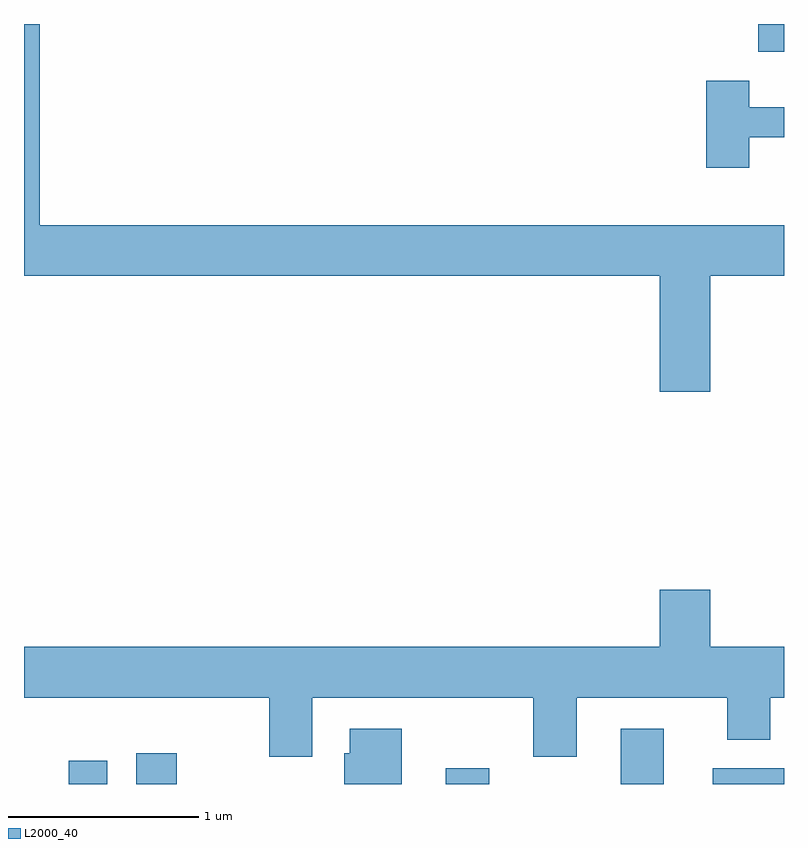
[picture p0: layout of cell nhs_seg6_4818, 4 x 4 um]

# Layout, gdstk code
import gdstk
lib = gdstk.Library(unit=1e-6, precision=1e-09)
def R(c, l, rs):  # rectangles x0, y0, x1, y1
    for r in rs: c.add(gdstk.rectangle(r[:2], r[2:], *l))
def P(c, l, *ps):  # polygons
    for p in ps: c.add(gdstk.Polygon(p, *l))
L2000_40 = (2000, 40)

nhs_seg6_4818 = lib.new_cell('nhs_seg6_4818')
R(nhs_seg6_4818, L2000_40, [(331.846,1636.162,332.049,1636.284), (332.201,1636.162,332.414,1636.324), (333.831,1636.162,334.059,1636.244), (334.751,1636.162,334.979,1636.454), (335.236,1636.162,335.611,1636.244), (335.476,1640.016,335.611,1640.162)])
P(nhs_seg6_4818, L2000_40, [(335.429,1639.566),(335.611,1639.566),(335.611,1639.724),(335.429,1639.724),(335.429,1639.864),(335.201,1639.864),(335.201,1639.406),(335.429,1639.406)],
  [(331.611,1640.162),(331.611,1638.836),(334.956,1638.836),(334.956,1638.226),(335.224,1638.226),(335.224,1638.836),(335.611,1638.836),(335.611,1639.104),(331.694,1639.104),(331.694,1640.162)],
  [(333.129,1636.616),(334.291,1636.616),(334.291,1636.306),(334.519,1636.306),(334.519,1636.616),(335.311,1636.616),(335.311,1636.396),(335.539,1636.396),(335.539,1636.616),(335.611,1636.616),(335.611,1636.884),(335.224,1636.884),(335.224,1637.184),(334.956,1637.184),(334.956,1636.884),(331.611,1636.884),(331.611,1636.616),(332.901,1636.616),(332.901,1636.306),(333.129,1636.306)],
  [(333.599,1636.454),(333.326,1636.454),(333.326,1636.324),(333.296,1636.324),(333.296,1636.162),(333.599,1636.162)])

lib.write_gds('nhs_seg6_4818.gds')
